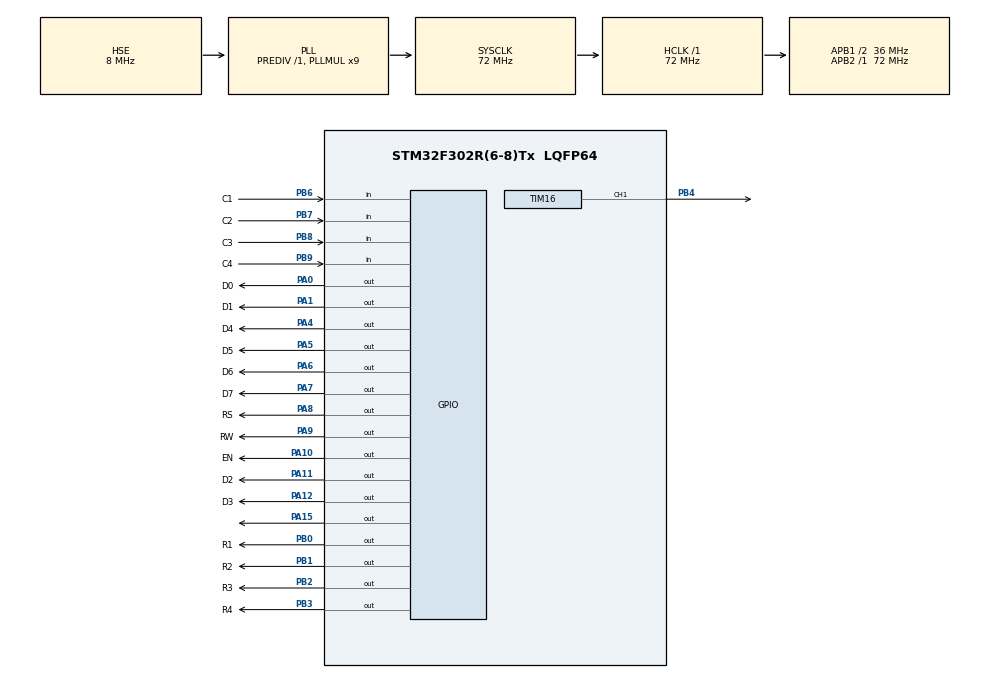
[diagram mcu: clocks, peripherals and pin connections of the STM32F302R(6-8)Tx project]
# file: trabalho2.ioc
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Mcu.Family=STM32F3
Mcu.Name=STM32F302R(6-8)Tx
Mcu.Package=LQFP64
NVIC.PriorityGroup=NVIC_PRIORITYGROUP_4
NVIC.TIM2_IRQn=true\:0\:0\:false\:false\:true\:true\:true\:true
PA0.GPIO_Label=D0
PA0.Signal=GPIO_Output
PA1.GPIO_Label=D1
PA1.Signal=GPIO_Output
PA10.GPIO_Label=EN
PA10.Signal=GPIO_Output
PA11.GPIO_Label=D2
PA11.Signal=GPIO_Output
PA12.GPIO_Label=D3
PA12.Signal=GPIO_Output
PA13.Mode=Serial_Wire
PA13.Signal=SYS_JTMS-SWDIO
PA14.Mode=Serial_Wire
PA14.Signal=SYS_JTCK-SWCLK
PA15.Signal=GPIO_Output
PA4.GPIO_Label=D4
PA4.Signal=GPIO_Output
PA5.GPIO_Label=D5
PA5.Signal=GPIO_Output
PA6.GPIO_Label=D6
PA6.Signal=GPIO_Output
PA7.GPIO_Label=D7
PA7.Signal=GPIO_Output
PA8.GPIO_Label=RS
PA8.Signal=GPIO_Output
PA9.GPIO_Label=RW
PA9.Signal=GPIO_Output
PB0.GPIO_Label=R1
PB0.GPIO_PuPd=GPIO_NOPULL
PB0.Signal=GPIO_Output
PB1.GPIO_Label=R2
PB1.GPIO_PuPd=GPIO_NOPULL
PB1.Signal=GPIO_Output
PB2.GPIO_Label=R3
PB2.GPIO_PuPd=GPIO_NOPULL
PB2.Signal=GPIO_Output
PB3.GPIO_Label=R4
PB3.GPIO_PuPd=GPIO_NOPULL
PB3.Signal=GPIO_Output
PB4.Signal=S_TIM16_CH1
PB6.GPIO_Label=C1
PB6.GPIO_PuPd=GPIO_PULLDOWN
PB6.Signal=GPIO_Input
PB7.GPIO_Label=C2
PB7.GPIO_PuPd=GPIO_PULLDOWN
PB7.Signal=GPIO_Input
PB8.GPIO_Label=C3
PB8.GPIO_PuPd=GPIO_PULLDOWN
PB8.Signal=GPIO_Input
PB9.GPIO_Label=C4
PB9.GPIO_PuPd=GPIO_PULLDOWN
PB9.Signal=GPIO_Input
PC14\ -\ OSC32_IN.Mode=LSE-External-Oscillator
PC14\ -\ OSC32_IN.Signal=RCC_OSC32_IN
PC15\ -\ OSC32_OUT.Mode=LSE-External-Oscillator
PC15\ -\ OSC32_OUT.Signal=RCC_OSC32_OUT
PF0-OSC_IN.Mode=HSE-External-Oscillator
PF0-OSC_IN.Signal=RCC_OSC_IN
PF1-OSC_OUT.Mode=HSE-External-Oscillator
PF1-OSC_OUT.Signal=RCC_OSC_OUT
ProjectManager.HeapSize=0x200
ProjectManager.StackSize=0x400
ProjectManager.TargetToolchain=STM32CubeIDE
RCC.AHBFreq_Value=72000000
RCC.APB1CLKDivider=RCC_HCLK_DIV2
RCC.APB1Freq_Value=36000000
RCC.APB1TimFreq_Value=72000000
RCC.APB2Freq_Value=72000000
RCC.APB2TimFreq_Value=72000000
RCC.CortexFreq_Value=72000000
RCC.HCLKFreq_Value=72000000
RCC.HSE_VALUE=8000000
RCC.HSI_VALUE=8000000
RCC.PLLMUL=RCC_PLL_MUL9
RCC.PLLSourceVirtual=RCC_PLLSOURCE_HSE
RCC.SYSCLKFreq_VALUE=72000000
RCC.SYSCLKSourceVirtual=RCC_SYSCLKSOURCE_PLLCLK
RCC.USBFreq_Value=72000000
SH.S_TIM16_CH1.0=TIM16_CH1,PWM Generation1 CH1
TIM16.Channel=TIM_CHANNEL_1
TIM16.Period=65535 - 1
TIM16.Prescaler=72 - 0
TIM2.Period=99999
TIM2.Prescaler=72 - 0
VP_TIM16_VS_ClockSourceINT.Mode=Enable_Timer
VP_TIM2_VS_ClockSourceINT.Mode=Internal
board=custom

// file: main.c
/* USER CODE BEGIN Header */
/**
 ******************************************************************************
 * @file           : main.c
 * @brief          : Main program body
 ******************************************************************************
 * @attention
 *
 * Copyright (c) 2022 STMicroelectronics.
 * All rights reserved.
 *
 * This software is licensed under terms that can be found in the LICENSE file
 * in the root directory of this software component.
 * If no LICENSE file comes with this software, it is provided AS-IS.
 *
 ******************************************************************************
 */
/* USER CODE END Header */
#include "main.h"

/* USER CODE BEGIN PD */

#define R1_PORT GPIOB
#define R1_PIN GPIO_PIN_0

#define R2_PORT GPIOB
#define R2_PIN GPIO_PIN_1

#define R3_PORT GPIOB
#define R3_PIN GPIO_PIN_2

#define R4_PORT GPIOB
#define R4_PIN GPIO_PIN_3

#define C1_PORT GPIOB
#define C1_PIN GPIO_PIN_6

#define C2_PORT GPIOB
#define C2_PIN GPIO_PIN_7

#define C3_PORT GPIOB
#define C3_PIN GPIO_PIN_8

#define C4_PORT GPIOB
#define C4_PIN GPIO_PIN_9

/* USER CODE END PD */

TIM_HandleTypeDef htim2;
TIM_HandleTypeDef htim16;

void SystemClock_Config(void);
static void MX_GPIO_Init(void);
static void MX_TIM2_Init(void);
static void MX_TIM16_Init(void);

/*****************************************************************************************************************************/

void LCD_init(void);

void LCD_command(uint8_t value);

void LCD_data(uint8_t value);

void LCD_string(uint8_t * str);

void Keys_Detect(int user);

int Keys_DetectNewUser(void);

/* Global Variable */

uint16_t data_pins[8];

uint16_t access[8];

int newUser[8];

uint16_t controller = 1;

uint16_t enter = 1;

uint16_t newUserControl = 0;

uint8_t tentativas = 0;

int validUser1 = 0;
int validUser2 = 0;
int validUser3 = 0;

int blockKeypad = 0;

uint16_t accessMock[8] = {
  4,
  0,
  8,
  6,
  1,
  2,
  3,
  4
};

uint16_t accessMock2[8] = {};

uint16_t accessMock3[8] = {};

int contadorIdNewUser = 0;

int contador = 1;

int contadorNewUser = 1;

uint8_t messageUserOrPass[30] = "Access ";
uint8_t messageUserPassHave[30] = "Access";

uint8_t messageNewUserNumber[30] = "Create User";
uint8_t messageNewPassNumber[30] = "Create Pass";

/* USER CODE BEGIN 0 */

uint8_t key;

/* USER CODE END 0 */

int main(void) {

  /* MCU Configuration--------------------------------------------------------*/

  /* Reset of all peripherals, Initializes the Flash interface and the Systick. */
  HAL_Init();

  /* Configure the system clock */
  SystemClock_Config();

  /* Initialize all configured peripherals */
  MX_GPIO_Init();
  MX_TIM2_Init();
  MX_TIM16_Init();

  data_pins[0] = D0_Pin;
  data_pins[1] = D1_Pin;
  data_pins[2] = D2_Pin;
  data_pins[3] = D3_Pin;
  data_pins[4] = D4_Pin;
  data_pins[5] = D5_Pin;
  data_pins[6] = D6_Pin;
  data_pins[7] = D7_Pin;

  /* Initialize LCD */

  LCD_init();
  contadorNewUser = 1;
  validUser1 = 0;
  validUser2 = 0;
  validUser3 = 0;

  HAL_Delay(1000);

  LCD_string((uint8_t * )
    "T2 -- LAB.PROCESS");

  LCD_command(0x38); // Set 8 bit mode
  LCD_command(0XC0); // Moving the cursor to second line
  LCD_string((uint8_t * )
    "AUGUSTO");

  showWelcome();

  /* USER CODE BEGIN 2 */
  HAL_TIM_PWM_Start( & htim2, TIM_CHANNEL_1);

  /* USER CODE END 2 */

  /* Infinite loop */
  while (1) {

    /* USER CODE BEGIN 3 */

    //checkPass();

    if (tentativas == 2) {
      LCD_command(0x01);
      LCD_string((uint8_t * )
        "BLOQUEADO");
      LCD_command(0x38); // Set 8 bit mode
      LCD_command(0XC0); // Moving the cursor to second line
      LCD_string((uint8_t * )
        "********************");
      blockKeypad = 1;
      HAL_Delay(6000);
      blockKeypad = 0;
      LCD_command(0x01);
      tentativas = 0;
      showWelcome();

    } else {
      if (newUserControl == 1) {
        if (blockKeypad == 0) {
          Keys_Detect(1); //1 is type new user

        }

      } else {

        if (blockKeypad == 0) {
          Keys_Detect(0); //0 is type user
        }
      }

      //check controller cancela
      if (controller == 0) {
        LCD_command(0x01);
        LCD_string((uint8_t * )
          "ABRIR CANCELA");
        LCD_command(0x38); // Set 8 bit mode
        LCD_command(0XC0); // Moving the cursor to second line
        LCD_string((uint8_t * )
          "Aguarda 5 segs");
        //bloqueia Keypad
        blockKeypad = 1;
        //run servo
        moveServoSobe();
        HAL_Delay(5000);
        moveServoDesce();
        //libera Keypad
        blockKeypad = 0;
        LCD_command(0x01);
        controller = 1;
        showWelcome();
      }

    }

  }
  /* USER CODE END 3 */
}

void SystemClock_Config(void) {
  RCC_OscInitTypeDef RCC_OscInitStruct = {
    0
  };
  RCC_ClkInitTypeDef RCC_ClkInitStruct = {
    0
  };
  RCC_PeriphCLKInitTypeDef PeriphClkInit = {
    0
  };

  /** Initializes the RCC Oscillators according to the specified parameters
   * in the RCC_OscInitTypeDef structure.
   */
  RCC_OscInitStruct.OscillatorType = RCC_OSCILLATORTYPE_HSE;
  RCC_OscInitStruct.HSEState = RCC_HSE_ON;
  RCC_OscInitStruct.HSEPredivValue = RCC_HSE_PREDIV_DIV1;
  RCC_OscInitStruct.HSIState = RCC_HSI_ON;
  RCC_OscInitStruct.PLL.PLLState = RCC_PLL_ON;
  RCC_OscInitStruct.PLL.PLLSource = RCC_PLLSOURCE_HSE;
  RCC_OscInitStruct.PLL.PLLMUL = RCC_PLL_MUL9;
  if (HAL_RCC_OscConfig( & RCC_OscInitStruct) != HAL_OK) {
    Error_Handler();
  }

  /** Initializes the CPU, AHB and APB buses clocks
   */
  RCC_ClkInitStruct.ClockType = RCC_CLOCKTYPE_HCLK | RCC_CLOCKTYPE_SYSCLK |
    RCC_CLOCKTYPE_PCLK1 | RCC_CLOCKTYPE_PCLK2;
  RCC_ClkInitStruct.SYSCLKSource = RCC_SYSCLKSOURCE_PLLCLK;
  RCC_ClkInitStruct.AHBCLKDivider = RCC_SYSCLK_DIV1;
  RCC_ClkInitStruct.APB1CLKDivider = RCC_HCLK_DIV2;
  RCC_ClkInitStruct.APB2CLKDivider = RCC_HCLK_DIV1;

  if (HAL_RCC_ClockConfig( & RCC_ClkInitStruct, FLASH_LATENCY_2) != HAL_OK) {
    Error_Handler();
  }
  PeriphClkInit.PeriphClockSelection = RCC_PERIPHCLK_TIM16;
  PeriphClkInit.Tim16ClockSelection = RCC_TIM16CLK_HCLK;
  if (HAL_RCCEx_PeriphCLKConfig( & PeriphClkInit) != HAL_OK) {
    Error_Handler();
  }
}

static void MX_TIM2_Init(void) {

  TIM_ClockConfigTypeDef sClockSourceConfig = {
    0
  };
  TIM_MasterConfigTypeDef sMasterConfig = {
    0
  };

  htim2.Instance = TIM2;
  htim2.Init.Prescaler = 72 - 0;
  htim2.Init.CounterMode = TIM_COUNTERMODE_UP;
  htim2.Init.Period = 99999;
  htim2.Init.ClockDivision = TIM_CLOCKDIVISION_DIV1;
  htim2.Init.AutoReloadPreload = TIM_AUTORELOAD_PRELOAD_DISABLE;
  if (HAL_TIM_Base_Init( & htim2) != HAL_OK) {
    Error_Handler();
  }
  sClockSourceConfig.ClockSource = TIM_CLOCKSOURCE_INTERNAL;
  if (HAL_TIM_ConfigClockSource( & htim2, & sClockSourceConfig) != HAL_OK) {
    Error_Handler();
  }
  sMasterConfig.MasterOutputTrigger = TIM_TRGO_RESET;
  sMasterConfig.MasterSlaveMode = TIM_MASTERSLAVEMODE_DISABLE;
  if (HAL_TIMEx_MasterConfigSynchronization( & htim2, & sMasterConfig) != HAL_OK) {
    Error_Handler();
  }

}

static void MX_TIM16_Init(void) {

  TIM_OC_InitTypeDef sConfigOC = {
    0
  };
  TIM_BreakDeadTimeConfigTypeDef sBreakDeadTimeConfig = {
    0
  };

  htim16.Instance = TIM16;
  htim16.Init.Prescaler = 72 - 0;
  htim16.Init.CounterMode = TIM_COUNTERMODE_UP;
  htim16.Init.Period = 65535 - 1;
  htim16.Init.ClockDivision = TIM_CLOCKDIVISION_DIV1;
  htim16.Init.RepetitionCounter = 0;
  htim16.Init.AutoReloadPreload = TIM_AUTORELOAD_PRELOAD_DISABLE;
  if (HAL_TIM_Base_Init( & htim16) != HAL_OK) {
    Error_Handler();
  }
  if (HAL_TIM_PWM_Init( & htim16) != HAL_OK) {
    Error_Handler();
  }
  sConfigOC.OCMode = TIM_OCMODE_PWM1;
  sConfigOC.Pulse = 0;
  sConfigOC.OCPolarity = TIM_OCPOLARITY_HIGH;
  sConfigOC.OCNPolarity = TIM_OCNPOLARITY_HIGH;
  sConfigOC.OCFastMode = TIM_OCFAST_DISABLE;
  sConfigOC.OCIdleState = TIM_OCIDLESTATE_RESET;
  sConfigOC.OCNIdleState = TIM_OCNIDLESTATE_RESET;
  if (HAL_TIM_PWM_ConfigChannel( & htim16, & sConfigOC, TIM_CHANNEL_1) != HAL_OK) {
    Error_Handler();
  }
  sBreakDeadTimeConfig.OffStateRunMode = TIM_OSSR_DISABLE;
  sBreakDeadTimeConfig.OffStateIDLEMode = TIM_OSSI_DISABLE;
  sBreakDeadTimeConfig.LockLevel = TIM_LOCKLEVEL_OFF;
  sBreakDeadTimeConfig.DeadTime = 0;
  sBreakDeadTimeConfig.BreakState = TIM_BREAK_DISABLE;
  sBreakDeadTimeConfig.BreakPolarity = TIM_BREAKPOLARITY_HIGH;
  sBreakDeadTimeConfig.BreakFilter = 0;
  sBreakDeadTimeConfig.AutomaticOutput = TIM_AUTOMATICOUTPUT_DISABLE;
  if (HAL_TIMEx_ConfigBreakDeadTime( & htim16, & sBreakDeadTimeConfig) != HAL_OK) {
    Error_Handler();
  }
  HAL_TIM_MspPostInit( & htim16);

}

static void MX_GPIO_Init(void) {
  GPIO_InitTypeDef GPIO_InitStruct = {
    0
  };

  /* GPIO Ports Clock Enable */
  __HAL_RCC_GPIOC_CLK_ENABLE();
  __HAL_RCC_GPIOF_CLK_ENABLE();
  __HAL_RCC_GPIOA_CLK_ENABLE();
  __HAL_RCC_GPIOB_CLK_ENABLE();

  /*Configure GPIO pin Output Level */
  HAL_GPIO_WritePin(GPIOA, D0_Pin | D1_Pin | D4_Pin | D5_Pin |
    D6_Pin | D7_Pin | RS_Pin | RW_Pin |
    EN_Pin | D2_Pin | D3_Pin | GPIO_PIN_15, GPIO_PIN_RESET);

  /*Configure GPIO pin Output Level */
  HAL_GPIO_WritePin(GPIOB, R1_Pin | R2_Pin | R3_Pin | R4_Pin, GPIO_PIN_RESET);

  /*Configure GPIO pins : D0_Pin D1_Pin D4_Pin D5_Pin
                           D6_Pin D7_Pin RS_Pin RW_Pin
                           EN_Pin D2_Pin D3_Pin PA15 */
  GPIO_InitStruct.Pin = D0_Pin | D1_Pin | D4_Pin | D5_Pin |
    D6_Pin | D7_Pin | RS_Pin | RW_Pin |
    EN_Pin | D2_Pin | D3_Pin | GPIO_PIN_15;
  GPIO_InitStruct.Mode = GPIO_MODE_OUTPUT_PP;
  GPIO_InitStruct.Pull = GPIO_NOPULL;
  GPIO_InitStruct.Speed = GPIO_SPEED_FREQ_LOW;
  HAL_GPIO_Init(GPIOA, & GPIO_InitStruct);

  /*Configure GPIO pins : R1_Pin R2_Pin R3_Pin R4_Pin */
  GPIO_InitStruct.Pin = R1_Pin | R2_Pin | R3_Pin | R4_Pin;
  GPIO_InitStruct.Mode = GPIO_MODE_OUTPUT_PP;
  GPIO_InitStruct.Pull = GPIO_NOPULL;
  GPIO_InitStruct.Speed = GPIO_SPEED_FREQ_LOW;
  HAL_GPIO_Init(GPIOB, & GPIO_InitStruct);

  /*Configure GPIO pins : C1_Pin C2_Pin C3_Pin C4_Pin */
  GPIO_InitStruct.Pin = C1_Pin | C2_Pin | C3_Pin | C4_Pin;
  GPIO_InitStruct.Mode = GPIO_MODE_INPUT;
  GPIO_InitStruct.Pull = GPIO_PULLDOWN;
  HAL_GPIO_Init(GPIOB, & GPIO_InitStruct);

}

/* USER CODE BEGIN 4 */

/*****************************************************************************************************************************/
void Keys_Detect(int user) {

  /* Setting Row 1 ad High and others LOW */
  HAL_GPIO_WritePin(GPIOB, R1_Pin, GPIO_PIN_SET);
  HAL_GPIO_WritePin(GPIOB, R2_Pin, GPIO_PIN_RESET);
  HAL_GPIO_WritePin(GPIOB, R3_Pin, GPIO_PIN_RESET);
  HAL_GPIO_WritePin(GPIOB, R4_Pin, GPIO_PIN_RESET);

  if (HAL_GPIO_ReadPin(GPIOB, C1_Pin) == GPIO_PIN_SET) {
    /* 1 */
    if (user == 0) {
      displayMapDigit(contador, messageUserOrPass, "UTL ");
      displayAnimation(contador);
      HAL_Delay(200);
      access[contador] = 1;
      contador = contador + 1;
    } else {
      displayMapDigit(contadorNewUser, messageUserOrPass, "CONF ");
      displayAnimation(contadorNewUser);
      HAL_Delay(200);
      newUser[contadorNewUser] = 1;
      contadorNewUser++;
    }

    while (HAL_GPIO_ReadPin(GPIOB, C1_Pin));
  }

  if (HAL_GPIO_ReadPin(GPIOB, C2_Pin) == GPIO_PIN_SET) {
    /* 2 */
    if (user == 0) {
      displayMapDigit(contador, messageUserOrPass, "UTL ");
      displayAnimation(contador);
      HAL_Delay(200);
      access[contador] = 2;
      contador++;
    } else {
      displayMapDigit(contadorNewUser, messageUserOrPass, "CONF ");
      displayAnimation(contadorNewUser);
      HAL_Delay(200);
      newUser[contadorNewUser] = 2;
      contadorNewUser++;
    }

    while (HAL_GPIO_ReadPin(GPIOB, C2_Pin));
  }

  if (HAL_GPIO_ReadPin(GPIOB, C3_Pin) == GPIO_PIN_SET) {
    /* 3 */
    if (user == 0) {

      displayMapDigit(contador, messageUserOrPass, "UTL ");
      displayAnimation(contador);
      HAL_Delay(200);
      access[contador] = 3;
      contador++;
    } else {
      displayMapDigit(contadorNewUser, messageUserOrPass, "CONF ");
      displayAnimation(contadorNewUser);
      HAL_Delay(200);
      newUser[contadorNewUser] = 3;
      contadorNewUser++;
    }
    while (HAL_GPIO_ReadPin(GPIOB, C3_Pin));
  }

  if (HAL_GPIO_ReadPin(GPIOB, C4_Pin) == GPIO_PIN_SET) {
    /* A */
    LCD_command(0x01);
    LCD_string((uint8_t * )
      "ACESSANDO");
    LCD_command(0x38); // Set 8 bit mode
    LCD_command(0XC0); // Moving the cursor to second line
    LCD_string((uint8_t * )
      "*******************");
    HAL_Delay(800);
    enter = 0;
    SavePassNewUser();
    checkPass();

    while (HAL_GPIO_ReadPin(GPIOB, C4_Pin));
  }

  /* Setting Row 2 ad High and others LOW */
  HAL_GPIO_WritePin(GPIOB, R1_Pin, GPIO_PIN_RESET);
  HAL_GPIO_WritePin(GPIOB, R2_Pin, GPIO_PIN_SET);
  HAL_GPIO_WritePin(GPIOB, R3_Pin, GPIO_PIN_RESET);
  HAL_GPIO_WritePin(GPIOB, R4_Pin, GPIO_PIN_RESET);

  if (HAL_GPIO_ReadPin(GPIOB, C1_Pin) == GPIO_PIN_SET) {
    /* 4 */
    if (user == 0) {
      displayMapDigit(contador, messageUserOrPass, "UTL ");
      displayAnimation(contador);
      HAL_Delay(200);
      access[contador] = 4;
      contador++;
    } else {
      displayMapDigit(contadorNewUser, messageUserOrPass, "CONF ");
      displayAnimation(contadorNewUser);
      HAL_Delay(200);

      newUser[contadorNewUser] = 4;
      contadorNewUser++;
    }
    while (HAL_GPIO_ReadPin(GPIOB, C1_Pin));
  }

  if (HAL_GPIO_ReadPin(GPIOB, C2_Pin) == GPIO_PIN_SET) {
    /* 5 */
    if (user == 0) {
      displayMapDigit(contador, messageUserOrPass, "UTL ");
      displayAnimation(contador);
      HAL_Delay(200);
      access[contador] = 5;
      contador++;
    } else {
      displayMapDigit(contadorNewUser, messageUserOrPass, "CONF ");
      displayAnimation(contadorNewUser);
      HAL_Delay(200);
      newUser[contadorNewUser] = 5;
      contadorNewUser++;
    }
    while (HAL_GPIO_ReadPin(GPIOB, C2_Pin));
  }

  if (HAL_GPIO_ReadPin(GPIOB, C3_Pin) == GPIO_PIN_SET) {
    /* 6 */
    if (user == 0) {
      displayMapDigit(contador, messageUserOrPass, "UTL ");
      displayAnimation(contador);
      HAL_Delay(200);
      access[contador] = 6;
      contador++;
    } else {
      displayMapDigit(contadorNewUser, messageUserOrPass, "CONF ");
      displayAnimation(contadorNewUser);
      HAL_Delay(200);
      newUser[contadorNewUser] = 6;
      contadorNewUser++;
    }
    while (HAL_GPIO_ReadPin(GPIOB, C3_Pin));
  }

  if (HAL_GPIO_ReadPin(GPIOB, C4_Pin) == GPIO_PIN_SET) {
    /* B */
    LCD_command(0x01);
    LCD_string((uint8_t * )
      "Tecla detectada");

    LCD_command(0x38); // Set 8 bit mode
    LCD_command(0XC0); // Moving the cursor to second line
    LCD_string((uint8_t * )
      "Key B");
    newUserControl = 1;
    modeConfig();
    while (HAL_GPIO_ReadPin(GPIOB, C4_Pin));
  }

  /* Setting Row 3 ad High and others LOW */
  HAL_GPIO_WritePin(GPIOB, R1_Pin, GPIO_PIN_RESET);
  HAL_GPIO_WritePin(GPIOB, R2_Pin, GPIO_PIN_RESET);
  HAL_GPIO_WritePin(GPIOB, R3_Pin, GPIO_PIN_SET);
  HAL_GPIO_WritePin(GPIOB, R4_Pin, GPIO_PIN_RESET);

  if (HAL_GPIO_ReadPin(GPIOB, C1_Pin) == GPIO_PIN_SET) {
    /* 7 */
    if (user == 0) {
      displayMapDigit(contador, messageUserOrPass, "UTL ");
      displayAnimation(contador);
      HAL_Delay(200);
      access[contador] = 7;
      contador++;
    } else {
      displayMapDigit(contadorNewUser, messageUserOrPass, "CONF ");
      displayAnimation(contadorNewUser);
      HAL_Delay(200);
      newUser[contadorNewUser] = 7;
      contadorNewUser++;
    }
    while (HAL_GPIO_ReadPin(GPIOB, C1_Pin));
  }

  if (HAL_GPIO_ReadPin(GPIOB, C2_Pin) == GPIO_PIN_SET) {
    /* 8 */
    if (user == 0) {
      displayMapDigit(contador, messageUserOrPass, "UTL ");
      displayAnimation(contador);
      HAL_Delay(200);
      access[contador] = 8;
      contador++;
    } else {
      displayMapDigit(contadorNewUser, messageUserOrPass, "CONF ");
      displayAnimation(contadorNewUser);
      HAL_Delay(200);
      newUser[contadorNewUser] = 8;
      contadorNewUser++;
    }
    while (HAL_GPIO_ReadPin(GPIOB, C2_Pin));
  }

  if (HAL_GPIO_ReadPin(GPIOB, C3_Pin) == GPIO_PIN_SET) {
    /* 9 */
    if (user == 0) {
      displayMapDigit(contador, messageUserOrPass, "UTL ");
      displayAnimation(contador);
      HAL_Delay(200);
      access[contador] = 9;
      contador++;
    } else {
      displayMapDigit(contadorNewUser, messageUserOrPass, "CONF ");
      displayAnimation(contadorNewUser);
      HAL_Delay(200);
      contadorNewUser++;
    }
    while (HAL_GPIO_ReadPin(GPIOB, C3_Pin));
  }

  if (HAL_GPIO_ReadPin(GPIOB, C4_Pin) == GPIO_PIN_SET) {
    /* # */
    LCD_command(0x01);
    LCD_string((uint8_t * )
      "Tecla detectada");

    LCD_command(0x38); // Set 8 bit mode
    LCD_command(0XC0); // Moving the cursor to second line
    LCD_string((uint8_t * )
      "Key C");
    while (HAL_GPIO_ReadPin(GPIOB, C4_Pin));
  }

  /* Setting Row 4 ad High and others LOW */
  HAL_GPIO_WritePin(GPIOB, R1_Pin, GPIO_PIN_RESET);
  HAL_GPIO_WritePin(GPIOB, R2_Pin, GPIO_PIN_RESET);
  HAL_GPIO_WritePin(GPIOB, R3_Pin, GPIO_PIN_RESET);
  HAL_GPIO_WritePin(GPIOB, R4_Pin, GPIO_PIN_SET);

  if (HAL_GPIO_ReadPin(GPIOB, C1_Pin) == GPIO_PIN_SET) {
    /* * */
    LCD_command(0x01);
    LCD_string((uint8_t * )
      "Tecla detectada");

    LCD_command(0x38); // Set 8 bit mode
    LCD_command(0XC0); // Moving the cursor to second line
    LCD_string((uint8_t * )
      "Key *");
    while (HAL_GPIO_ReadPin(GPIOB, C1_Pin));
  }

  if (HAL_GPIO_ReadPin(GPIOB, C2_Pin) == GPIO_PIN_SET) {
    /* 0 */
    if (user == 0) {
      displayMapDigit(contador, messageUserOrPass, "UTL ");
      displayAnimation(contador);
      HAL_Delay(200);
      access[contador] = 0;
      contador++;
    } else {
      displayMapDigit(contadorNewUser, messageUserOrPass, "CONF ");
      displayAnimation(contadorNewUser);
      HAL_Delay(200);
      newUser[contadorNewUser] = 0;
      contadorNewUser++;
    }
    while (HAL_GPIO_ReadPin(GPIOB, C2_Pin));
  }

  if (HAL_GPIO_ReadPin(GPIOB, C3_Pin) == GPIO_PIN_SET) {
    /* # */
    LCD_command(0x01);
    LCD_string((uint8_t * )
      "Tecla detectada");

    LCD_command(0x38); // Set 8 bit mode
    LCD_command(0XC0); // Moving the cursor to second line
    LCD_string((uint8_t * )
      "Key #");
    while (HAL_GPIO_ReadPin(GPIOB, C3_Pin));
  }

  if (HAL_GPIO_ReadPin(GPIOB, C4_Pin) == GPIO_PIN_SET) {
    /* D */
    LCD_command(0x01);
    LCD_string((uint8_t * )
      "RESET SYSTEM");

    LCD_command(0x38); // Set 8 bit mode
    LCD_command(0XC0); // Moving the cursor to second line
    LCD_string((uint8_t * )
      "*********");

    newUserControl = 0;
    cleanUsers();
    showWelcome();

    while (HAL_GPIO_ReadPin(GPIOB, C4_Pin));

  }

}

void displayAnimation(int opcao) {
  switch (opcao) {
  case 1:
    LCD_command(0XC0); // Moving the cursor to second line
    LCD_string((uint8_t * )
      "X: ");
    break;
  case 2:
    LCD_command(0XC0); // Moving the cursor to second line
    LCD_string((uint8_t * )
      "XX: ");
    break;
  case 3:
    LCD_command(0XC0); // Moving the cursor to second line
    LCD_string((uint8_t * )
      "XXX: ");
    break;
  case 4:
    LCD_command(0XC0); // Moving the cursor to second line
    LCD_string((uint8_t * )
      "XXXX: ");
    break;
  case 5:
    LCD_command(0XC0); // Moving the cursor to second line
    LCD_string((uint8_t * )
      "XXXXX: ");
    break;
  case 6:
    LCD_command(0XC0); // Moving the cursor to second line
    LCD_string((uint8_t * )
      "XXXXXX: ");
    break;
  case 7:
    LCD_command(0XC0); // Moving the cursor to second line
    LCD_string((uint8_t * )
      "XXXXXXX: ");
    break;
  case 8:
    LCD_command(0XC0); // Moving the cursor to second line
    LCD_string((uint8_t * )
      "XXXXXXXX: ");
    break;
  default:
    LCD_command(0XC0); // Moving the cursor to second line
    LCD_string((uint8_t * )
      "APERTE ENTER: ");

  }

}

void displayMapDigit(int opcao, uint8_t * message, uint8_t * type) {

  switch (opcao) {
  case 1:
    LCD_command(0x01);
    //strcat(message, " User");
    LCD_string(message);
    LCD_string(type);
    LCD_string((uint8_t * )
      "usr");
    LCD_command(0x38); // Set 8 bit mode
    break;
  case 2:
    LCD_command(0x01);
    LCD_string(message);
    LCD_string(type);
    LCD_string((uint8_t * )
      "usr");
    LCD_command(0x38); // Set 8 bit mode
    break;
  case 3:
    LCD_command(0x01);
    LCD_string(message);
    LCD_string(type);
    LCD_string((uint8_t * )
      "usr");
    LCD_command(0x38); // Set 8 bit mode
    break;
  case 4:
    LCD_command(0x01);
    LCD_string(message);
    LCD_string(type);
    LCD_string((uint8_t * )
      "usr");
    LCD_command(0x38); // Set 8 bit mode
    break;
  case 5:
    LCD_command(0x01);
    LCD_string(message);
    LCD_string(type);
    LCD_string((uint8_t * )
      "pass");
    LCD_command(0x38); // Set 8 bit mode
    break;
  case 6:
    LCD_command(0x01);
    LCD_string(message);
    LCD_string(type);
    LCD_string((uint8_t * )
      "pass");
    LCD_command(0x38); // Set 8 bit mode
    break;
  case 7:
    LCD_command(0x01);
    LCD_string(message);
    LCD_string(type);
    LCD_string((uint8_t * )
      "pass");
    LCD_command(0x38); // Set 8 bit mode
    break;
  case 8:
    LCD_command(0x01);
    LCD_string(message);
    LCD_string(type);
    LCD_string((uint8_t * )
      "pass");
    LCD_command(0x38); // Set 8 bit mode

    HAL_Delay(500);
            LCD_command(0x01); // Moving the cursor to second line
            LCD_string((uint8_t * )
                  "APERTE ENTER: ");

    break;
  case 9:
    LCD_command(0x01);
    LCD_string(message);
    LCD_string(type);
    LCD_string((uint8_t * )
      "pass");
    LCD_command(0x38); // Set 8 bit mode
    break;
  default:
    LCD_command(0x01);
    LCD_string((uint8_t * )
      "TECLAS EXCEDIDAS");
    LCD_command(0x38); // Set 8 bit mode

  }

}

//Refactory da função

void modeConfig(void) {

  LCD_command(0x01);
  LCD_string((uint8_t * )
    "MODO CONFIGURACAO");
  LCD_command(0x38); // Set 8 bit mode
  LCD_command(0XC0); // Moving the cursor to second line
  LCD_string((uint8_t * )
    "***********************");
  HAL_Delay(1000);
  LCD_command(0x01);
  showWelcome();

}

//this function clean variable global hardcode
void cleanUsers(void) {

  memset(accessMock2, 0, 8);
  memset(accessMock3, 0, 8);
  memset(newUser, 0, 8);
  memset(access, 0, 8);
  contadorIdNewUser = 0;
  contador = 1;
  contadorNewUser = 0;
  validUser1 = 0;
  validUser2 = 0;
  validUser3 = 0;
  blockKeypad = 0;
  controller = 1;
  enter = 1;
  newUserControl = 0;
  tentativas = 0;
}

void checkPass(void) {
  if ((contador == 9 || contadorNewUser == 9) && enter == 0) {
    for (int i = 0; i < 8; i++) {
      if (accessMock[i] == access[i + 1]) {
        validUser1++;
      }
      if (accessMock2[i] == access[i + 1]) {
        validUser2++;
      }
      if (accessMock3[i] == access[i + 1]) {
        validUser3++;
      }
    }
    if (validUser1 == 8 || validUser2 == 8 || validUser3 == 8) {
      LCD_command(0x01);
      LCD_string((uint8_t * )
        "Acesso Liberado");
      HAL_Delay(1000);
      LCD_command(0x38); // Set 8 bit mode
      LCD_command(0XC0); // Moving the cursor to second line
      LCD_string((uint8_t * )
        "*************");
      controller = 0;
      contador = 1;
      contadorNewUser = 1;
      validUser1 = 0;
      validUser2 = 0;
      validUser3 = 0;
    } else {
      LCD_command(0x01);
      LCD_string((uint8_t * )
        "Sem acesso");
      HAL_Delay(1000);
      contador = 1;
      contadorNewUser = 1;
      validUser1 = 0;
      validUser2 = 0;
      validUser3 = 0;
      tentativas++;
      showWelcome();
    }
  }
}

void SavePassNewUser(void) {
  if (contadorNewUser == 9 && enter == 0) {
    for (int i = 0; i < 8; i++) {
      if (contadorIdNewUser == 0) {
        accessMock2[i] = newUser[i+1];
      }
      if (contadorIdNewUser == 1) {
        accessMock3[i] = newUser[i+1];
      }
    }
    contadorIdNewUser++;
    LCD_command(0x01);
    LCD_string((uint8_t * )
      "SAVE USER");
    LCD_command(0x38); // Set 8 bit mode
    LCD_command(0XC0); // Moving the cursor to second line
    LCD_string((uint8_t * )
      "*************");
    contadorNewUser = 1;
    newUserControl = 0;
    HAL_Delay(2000);
    showWelcome();

  }
}

void showWelcome(void) {
  LCD_command(0x01);
  LCD_string((uint8_t * )
    "DIGITE ACESSO");
  LCD_command(0x38); // Set 8 bit mode
  LCD_command(0XC0); // Moving the cursor to second line
  LCD_string((uint8_t * )
    "****************");
}

void moveServoSobe(void) {
  for (int i = 0; i < 12; i++) {
    GPIOA -> BSRR = (1 << 15);
    HAL_Delay(2);
    GPIOA -> BRR = (1 << 15);
    HAL_Delay(200);
  }
}

void moveServoDesce(void) {
  for (int i = 0; i < 4; i++) {
    GPIOA -> BSRR = (1 << 15);
    HAL_Delay(1);
    GPIOA -> BRR = (1 << 15);
    HAL_Delay(100);
  }
}

/*****************************************************************************************************************************/
/* Initialization of LCD in 8-bit mode */

void LCD_init(void) {
  HAL_Delay(100); // Give LCD time to intialize
  LCD_command(0x38); // Setting 8-bit mode
  LCD_command(0x38);
  LCD_command(0x38);

  LCD_command(0x0C); // Display ON and Cursor OFF

  LCD_command(0x06); // Auto Increment Cursor

  LCD_command(0x01); // Clear Display

  LCD_command(0x80); // Cursor at home position
}

/*****************************************************************************************************************************/
/* Command mode operations */

void LCD_command(uint8_t value) {
  HAL_GPIO_WritePin(RS_GPIO_Port, RS_Pin, GPIO_PIN_RESET);
  HAL_GPIO_WritePin(RW_GPIO_Port, RW_Pin, GPIO_PIN_RESET);

  // witing to data to D0, D1, D2, D3, D4, D5, D6, D7

  for (int i = 0; i < 8; i++) {
    HAL_GPIO_WritePin(GPIOA, data_pins[i], ((value >> i) & 0x01) ? GPIO_PIN_SET : GPIO_PIN_RESET);
  }

  // Pulse the Enable pin

  HAL_GPIO_WritePin(GPIOA, EN_Pin, GPIO_PIN_RESET);
  HAL_Delay(1);
  HAL_GPIO_WritePin(GPIOA, EN_Pin, GPIO_PIN_SET);
  HAL_Delay(1); // enable pulse must be >450ns
  HAL_GPIO_WritePin(GPIOA, EN_Pin, GPIO_PIN_RESET);
  HAL_Delay(1); // commands need > 37us to settle

}
/*****************************************************************************************************************************/
/* Data mode operations */

void LCD_data(uint8_t value) {
  HAL_GPIO_WritePin(RS_GPIO_Port, RS_Pin, GPIO_PIN_SET);
  HAL_GPIO_WritePin(RW_GPIO_Port, RW_Pin, GPIO_PIN_RESET);

  for (int i = 0; i < 8; i++) {
    HAL_GPIO_WritePin(GPIOA, data_pins[i], ((value >> i) & 0x01) ? GPIO_PIN_SET : GPIO_PIN_RESET);
  }

  // Pulse the Enable pin

  HAL_GPIO_WritePin(GPIOA, EN_Pin, GPIO_PIN_RESET);
  HAL_Delay(1);
  HAL_GPIO_WritePin(GPIOA, EN_Pin, GPIO_PIN_SET);
  HAL_Delay(1); // enable pulse must be >450ns
  HAL_GPIO_WritePin(GPIOA, EN_Pin, GPIO_PIN_RESET);
  HAL_Delay(1); // commands need > 37us to settle
}
/*****************************************************************************************************************************/

/* Printing the string */

void LCD_string(uint8_t * str) {
  int i = 0;

  while (str[i] != '\0') {
    LCD_data(str[i]);
    i++;
  }

}

/*****************************************************************************************************************************/

/* USER CODE END 4 */

void Error_Handler(void) {
  __disable_irq();
  while (1) {}
}
